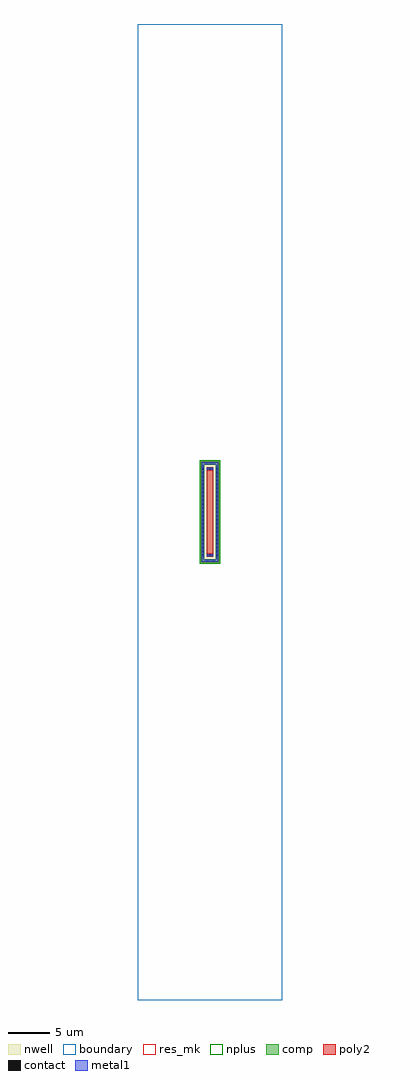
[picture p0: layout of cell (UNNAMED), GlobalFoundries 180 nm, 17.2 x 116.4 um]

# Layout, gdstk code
import gdstk
lib = gdstk.Library(unit=1e-6, precision=1e-09)
def R(c, l, rs):  # rectangles x0, y0, x1, y1
    for r in rs: c.add(gdstk.rectangle(r[:2], r[2:], *l))
def A(c, l, x, y, w, h, nx, ny, dx, dy):  # array of equal rectangles
    R(c, l, [(x+i*dx, y+j*dy, x+i*dx+w, y+j*dy+h) for i in range(nx) for j in range(ny)])
boundary = (0, 0)
nwell = (21, 0)
comp = (22, 0)
poly2 = (30, 0)
nplus = (32, 0)
contact = (33, 0)
metal1 = (34, 0)
res_mk = (110, 5)

c__unnamed_ = lib.new_cell('(UNNAMED)')
R(c__unnamed_, boundary, [(-8.6,-58.2,8.6,58.2)])
R(c__unnamed_, nwell, [(-1.16,-6.12,1.16,6.12)])
R(c__unnamed_, comp, [(-1.04,-6,1.04,-5.64), (-1.04,-5.64,-0.68,5.64), (0.68,-5.64,1.04,5.64), (-1.04,5.64,1.04,6)])
R(c__unnamed_, poly2, [(-0.4,-5.36,0.4,5.36)])
R(c__unnamed_, nplus, [(-1.2,-6.16,1.2,-5.53), (-0.58,-5.54,0.58,5.54), (-1.2,-5.53,-0.57,5.53), (0.57,-5.53,1.2,5.53), (-1.2,5.53,1.2,6.16)])
A(c__unnamed_, contact, -0.97, -5.28, 0.22, 0.22, 1, 23, 0, 0.47)
A(c__unnamed_, contact, 0.75, -5.28, 0.22, 0.22, 1, 23, 0, 0.47)
R(c__unnamed_, contact, [(-0.11,-5.29,0.11,-5.07), (-0.11,5.07,0.11,5.29)])
R(c__unnamed_, metal1, [(-0.975,-5.935,0.975,-5.705), (-0.975,-5.705,-0.745,5.705), (0.745,-5.705,0.975,5.705), (-0.39,-5.295,0.39,-5.065), (-0.39,5.065,0.39,5.295), (-0.975,5.705,0.975,5.935)])
R(c__unnamed_, res_mk, [(-0.4,-5,0.4,5)])

lib.write_gds('_UNNAMED_.gds')
